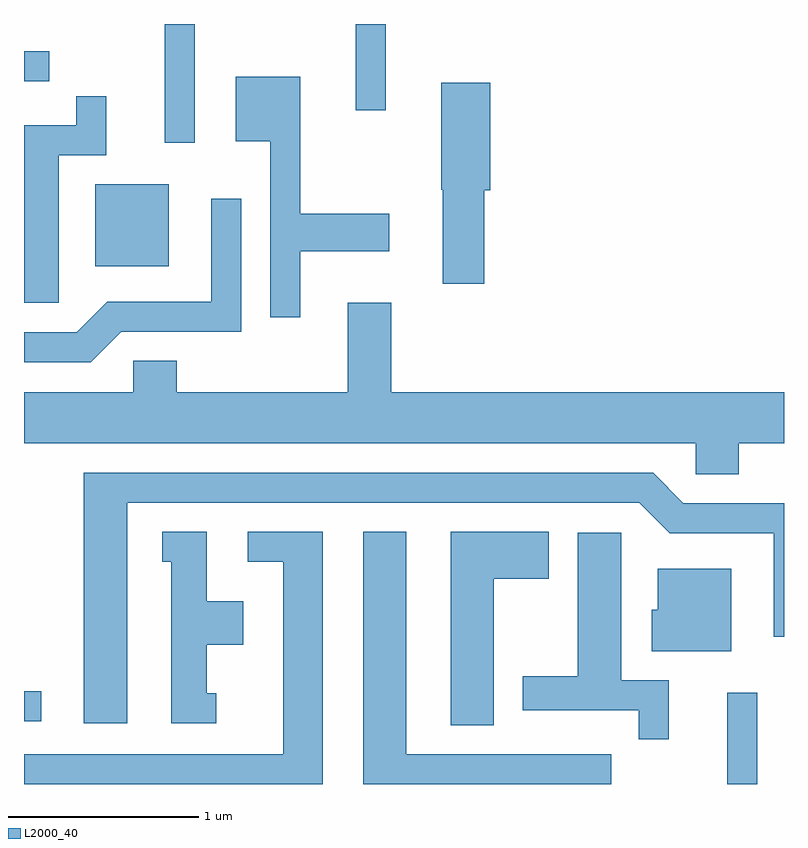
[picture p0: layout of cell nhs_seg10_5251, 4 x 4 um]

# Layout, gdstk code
import gdstk
lib = gdstk.Library(unit=1e-6, precision=1e-09)
def R(c, l, rs):  # rectangles x0, y0, x1, y1
    for r in rs: c.add(gdstk.rectangle(r[:2], r[2:], *l))
def P(c, l, *ps):  # polygons
    for p in ps: c.add(gdstk.Polygon(p, *l))
L2000_40 = (2000, 40)

nhs_seg10_5251 = lib.new_cell('nhs_seg10_5251')
R(nhs_seg10_5251, L2000_40, [(343.311,2156.522,343.469,2157.003), (339.611,2156.851,339.703,2157.009), (339.986,2159.246,340.374,2159.679), (340.351,2159.898,340.509,2160.522), (341.356,2160.068,341.514,2160.522), (339.611,2160.221,339.743,2160.379)])
P(nhs_seg10_5251, L2000_40, [(341.064,2159.326),(341.534,2159.326),(341.534,2159.524),(341.064,2159.524),(341.064,2160.244),(340.726,2160.244),(340.726,2159.906),(340.906,2159.906),(340.906,2158.978),(341.064,2158.978)],
  [(342.034,2159.646),(342.064,2159.646),(342.064,2160.214),(341.806,2160.214),(341.806,2159.65),(341.816,2159.65),(341.816,2159.156),(342.034,2159.156)],
  [(339.794,2159.831),(340.044,2159.831),(340.044,2160.143),(339.886,2160.143),(339.886,2159.989),(339.611,2159.989),(339.611,2159.056),(339.794,2159.056)],
  [(340.122,2158.901),(340.754,2158.901),(340.754,2159.603),(340.596,2159.603),(340.596,2159.059),(340.049,2159.059),(339.889,2158.899),(339.611,2158.899),(339.611,2158.741),(339.962,2158.741)],
  [(343.374,2158.316),(343.611,2158.316),(343.611,2158.584),(341.544,2158.584),(341.544,2159.054),(341.316,2159.054),(341.316,2158.584),(340.414,2158.584),(340.414,2158.749),(340.186,2158.749),(340.186,2158.584),(339.611,2158.584),(339.611,2158.316),(343.146,2158.316),(343.146,2158.151),(343.374,2158.151)],
  [(340.154,2158.001),(342.849,2158.001),(343.009,2157.841),(343.556,2157.841),(343.556,2157.298),(343.611,2157.298),(343.611,2157.999),(343.082,2157.999),(342.922,2158.159),(339.926,2158.159),(339.926,2156.841),(340.154,2156.841)],
  [(340.623,2156.999),(340.574,2156.999),(340.574,2157.256),(340.764,2157.256),(340.764,2157.484),(340.574,2157.484),(340.574,2157.849),(340.338,2157.849),(340.338,2157.691),(340.386,2157.691),(340.386,2156.841),(340.623,2156.841)],
  [(342.703,2156.679),(341.624,2156.679),(341.624,2157.849),(341.396,2157.849),(341.396,2156.522),(342.703,2156.522)],
  [(341.184,2157.849),(340.788,2157.849),(340.788,2157.691),(340.976,2157.691),(340.976,2156.679),(339.611,2156.679),(339.611,2156.522),(341.184,2156.522)],
  [(342.084,2157.601),(342.374,2157.601),(342.374,2157.849),(341.856,2157.849),(341.856,2156.831),(342.084,2156.831)],
  [(343.004,2157.069),(342.754,2157.069),(342.754,2157.844),(342.526,2157.844),(342.526,2157.089),(342.236,2157.089),(342.236,2156.911),(342.846,2156.911),(342.846,2156.758),(343.004,2156.758)],
  [(343.334,2157.654),(342.946,2157.654),(342.946,2157.439),(342.916,2157.439),(342.916,2157.221),(343.334,2157.221)])

lib.write_gds('nhs_seg10_5251.gds')
